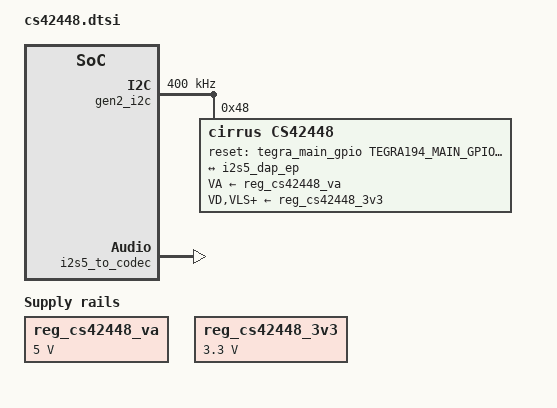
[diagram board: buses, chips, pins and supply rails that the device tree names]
// CS42448 TDM codec on Tegra I2S5 (DAP5, 40-pin header).
//
// 8 DAC out / 6 ADC in, single-pair TDM (DSP_A), I2C control (CS strapped
// GND -> I2C mode, AD0=AD1=0 -> addr 0x48). Codec is clock SLAVE; Tegra
// I2S5 is BCLK+FS+MCLK master. MCLK from AUD_MCLK (header pin 7), 512xFs =
// 24.576 MHz @ 48k (set via mclk-fs; rate programmed by the Tegra audio
// machine driver). RESET on soc_gpio41_pq5 = MAIN_GPIO(Q,5) = header pin 29.
//
// Full design: docs/jetson-cs42448-tdm-plan.md + docs/jetson-audio-multimode-dsp.md.
//
// Bring-up notes / things to verify on first hardware:
//   - cs42xx8 probe reads CHIP_ID over I2C; if the codec control port needs
//     MCLK present at probe and AUD_MCLK is gated until a stream, probe may
//     fail. Datasheet implies the I2C control port is independent of MCLK
//     (control works at reset); verify. If it fails, energise AUD_MCLK early.
//   - "format"/"bitclock-master"/"frame-master" on the dai-link drive the
//     Tegra machine driver's set_dai_fmt (DSP_A) + master select. Mirrors the
//     jetson-respeaker-4-mic TDM overlay pattern.
//   - VA=5V, VD/VLS/VLC=3V3 come from the codec board's own LDO; the
//     regulator-fixed nodes below are nominal always-on handles the driver's
//     *-supply bindings require (enable is a no-op).

#include <dt-bindings/gpio/gpio.h>
#include <dt-bindings/gpio/tegra194-gpio.h>
#include <dt-bindings/clock/tegra194-clock.h>

/ {
	reg_cs42448_va: regulator-cs42448-va {
		compatible = "regulator-fixed";
		regulator-name = "cs42448-va";
		regulator-min-microvolt = <5000000>;
		regulator-max-microvolt = <5000000>;
		regulator-always-on;
	};

	reg_cs42448_3v3: regulator-cs42448-3v3 {
		compatible = "regulator-fixed";
		regulator-name = "cs42448-3v3";
		regulator-min-microvolt = <3300000>;
		regulator-max-microvolt = <3300000>;
		regulator-always-on;
	};
};

/* CS42448 control port -> gen2 I2C (header pins 27 SDA / 28 SCL), addr 0x48 */
&gen2_i2c {
	status = "okay";
	clock-frequency = <400000>;

	cs42448: audio-codec@48 {
		compatible = "cirrus,cs42448";
		reg = <0x48>;

		clocks = <&bpmp_clks TEGRA194_CLK_AUD_MCLK>;
		clock-names = "mclk";

		VA-supply  = <&reg_cs42448_va>;
		VD-supply  = <&reg_cs42448_3v3>;
		VLS-supply = <&reg_cs42448_3v3>;
		VLC-supply = <&reg_cs42448_3v3>;

		/* RST# = soc_gpio41_pq5 = MAIN_GPIO(Q,5) = 40-pin header pin 29 */
		reset-gpios = <&tegra_main_gpio TEGRA194_MAIN_GPIO(Q, 5) GPIO_ACTIVE_LOW>;

		#sound-dai-cells = <1>;
		sound-name-prefix = "CS42448";
		status = "okay";

		cs42448_port: port {
			cs42448_ep: endpoint {
				remote-endpoint = <&i2s5_dap_ep>;
				mclk-fs = <512>;	/* 24.576 MHz @ 48k */
				link-name = "cs42448-tdm";
			};
		};
	};
};

/* Replace the stock I2S5 dummy codec link with the CS42448, TDM/DSP_A,
 * Tegra I2S5 as bit+frame clock master. */
&i2s5_to_codec {
	status = "okay";
	link-name = "cs42448-tdm";
	format = "dsp_a";
	bitclock-master;
	frame-master;
	fsync-width = <0>;

	codec {
		sound-dai = <&cs42448 0>;
		prefix = "CS42448";
	};
};

/* Point the I2S5 DAP audio-graph endpoint at the codec instead of the dummy. */
&i2s5_dap_ep {
	remote-endpoint = <&cs42448_ep>;
	dai-format = "dsp_a";
};
